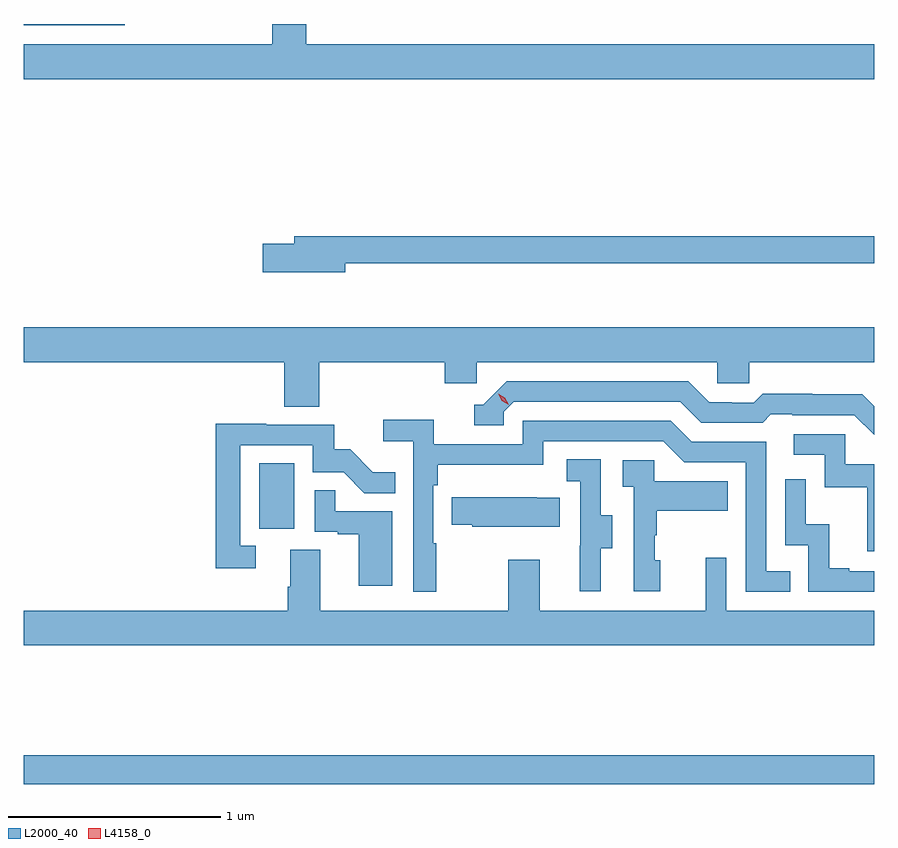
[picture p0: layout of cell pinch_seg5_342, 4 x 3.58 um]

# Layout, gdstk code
import gdstk
lib = gdstk.Library(unit=1e-6, precision=1e-09)
def R(c, l, rs):  # rectangles x0, y0, x1, y1
    for r in rs: c.add(gdstk.rectangle(r[:2], r[2:], *l))
def P(c, l, *ps):  # polygons
    for p in ps: c.add(gdstk.Polygon(p, *l))
L2000_40 = (2000, 40)
L4158_0 = (4158, 0)

pinch_seg5_342 = lib.new_cell('pinch_seg5_342')
R(pinch_seg5_342, L2000_40, [(984.281,890.74,988.281,890.876), (985.388,891.942,985.552,892.249), (984.281,894.309,984.756,894.316), (984.841,894.315,985.087,894.316)])
P(pinch_seg5_342, L2000_40, [(988.281,894.22),(985.61,894.22),(985.61,894.316),(985.45,894.316),(985.45,894.22),(984.281,894.22),(984.281,894.056),(988.281,894.056)],
  [(985.792,893.19),(988.281,893.19),(988.281,893.318),(985.553,893.318),(985.553,893.282),(985.404,893.282),(985.404,893.147),(985.792,893.147)],
  [(985.67,892.724),(986.261,892.724),(986.261,892.626),(986.412,892.626),(986.412,892.724),(987.543,892.724),(987.543,892.626),(987.693,892.626),(987.693,892.724),(988.281,892.724),(988.281,892.888),(984.281,892.888),(984.281,892.724),(985.505,892.724),(985.505,892.516),(985.67,892.516)],
  [(988.281,892.518),(988.226,892.573),(987.99,892.573),(987.99,892.576),(987.757,892.576),(987.715,892.533),(987.612,892.533),(987.612,892.536),(987.505,892.536),(987.406,892.635),(986.553,892.635),(986.442,892.524),(986.399,892.524),(986.399,892.428),(986.538,892.428),(986.538,892.491),(986.586,892.539),(987.369,892.539),(987.468,892.44),(987.757,892.44),(987.796,892.479),(987.895,892.479),(987.895,892.476),(988.188,892.476),(988.281,892.383)],
  [(986.221,891.872),(986.208,891.872),(986.208,892.145),(986.228,892.145),(986.228,892.241),(986.724,892.241),(986.724,892.353),(987.288,892.353),(987.387,892.254),(987.678,892.254),(987.678,891.645),(987.887,891.645),(987.887,891.741),(987.774,891.741),(987.774,892.35),(987.424,892.35),(987.325,892.449),(986.628,892.449),(986.628,892.338),(986.21,892.338),(986.21,892.454),(985.971,892.454),(985.971,892.352),(986.112,892.352),(986.112,891.645),(986.221,891.645)],
  [(985.372,891.861),(985.299,891.861),(985.299,892.335),(985.641,892.335),(985.641,892.206),(985.785,892.206),(985.883,892.108),(986.027,892.108),(986.027,892.207),(985.923,892.207),(985.816,892.314),(985.74,892.314),(985.74,892.431),(985.421,892.431),(985.421,892.436),(985.183,892.436),(985.183,891.756),(985.372,891.756)],
  [(988.281,892.245),(988.146,892.245),(988.146,892.386),(987.903,892.386),(987.903,892.29),(988.05,892.29),(988.05,892.137),(988.249,892.137),(988.249,891.834),(988.281,891.834)],
  [(986.995,891.85),(987.049,891.85),(987.049,892.005),(986.994,892.005),(986.994,892.268),(986.835,892.268),(986.835,892.165),(986.898,892.165),(986.898,891.861),(986.897,891.861),(986.897,891.648),(986.995,891.648)],
  [(987.274,891.792),(987.249,891.792),(987.249,891.911),(987.259,891.911),(987.259,892.025),(987.593,892.025),(987.593,892.165),(987.246,892.165),(987.246,892.263),(987.099,892.263),(987.099,892.139),(987.15,892.139),(987.15,891.648),(987.274,891.648)],
  [(988.281,891.741),(988.165,891.741),(988.165,891.754),(988.07,891.754),(988.07,891.962),(987.96,891.962),(987.96,892.174),(987.864,892.174),(987.864,891.864),(987.972,891.864),(987.972,891.645),(988.281,891.645)],
  [(986.014,892.023),(985.745,892.023),(985.745,892.121),(985.65,892.121),(985.65,891.927),(985.757,891.927),(985.757,891.915),(985.856,891.915),(985.856,891.672),(986.014,891.672)],
  [(986.801,892.087),(986.693,892.087),(986.693,892.09),(986.293,892.09),(986.293,891.961),(986.391,891.961),(986.391,891.95),(986.801,891.95)],
  [(988.281,891.556),(987.585,891.556),(987.585,891.805),(987.488,891.805),(987.488,891.556),(986.707,891.556),(986.707,891.796),(986.56,891.796),(986.56,891.556),(985.675,891.556),(985.675,891.842),(985.535,891.842),(985.535,891.668),(985.523,891.668),(985.523,891.556),(984.281,891.556),(984.281,891.392),(988.281,891.392)])
P(pinch_seg5_342, L4158_0, [(986.561,892.524),(986.53,892.543),(986.513,892.576),(986.513,892.576),(986.513,892.576),(986.544,892.557),(986.561,892.524),(986.561,892.524)])

lib.write_gds('pinch_seg5_342.gds')
